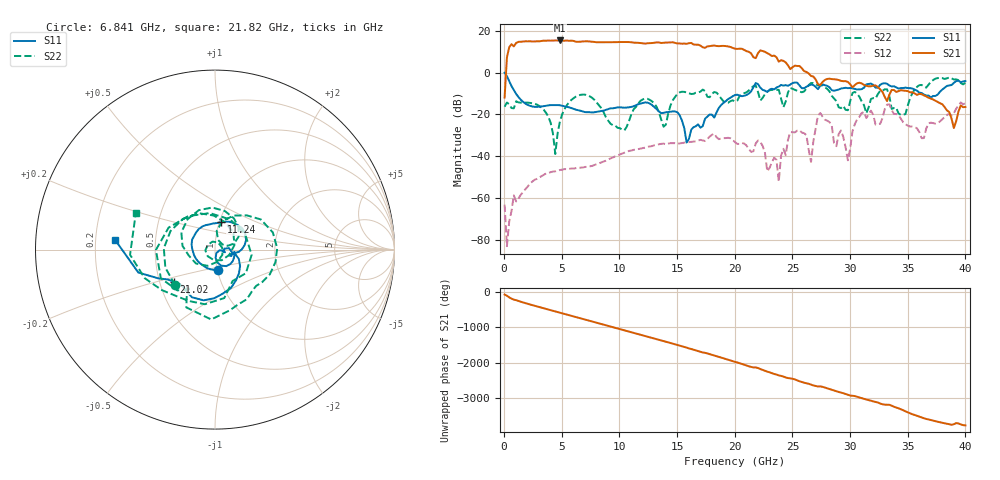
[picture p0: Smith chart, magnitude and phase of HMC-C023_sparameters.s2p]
!Hittite Microwave Corporation
!20 Alpha Road
!Chelmsford, MA 01824
!Tel: 978-250-3343
!Fax: 978-250-3373
!Device: HMC-C023, 2-20 GHz, Wideband PA Module
!Misc: Vdd = +12V, Idd = 310 mA, Room Temperature
# GHZ S DB R 50
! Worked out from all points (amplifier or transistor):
!   201 points, 50 MHz to 40 GHz, reference 50 ohm
!   highest |S21| = 15.3 dB at 4.844 GHz (marker M1)
!   |S21| within 3 dB of that: 479.4 MHz to 17.16 GHz (16.68 GHz wide, 189 % of centre) (the widest 1 of 2)
!   unconditionally stable (mu >= 1): start of sweep to end of sweep
!   at 6.642 GHz: K = 15.65, MAG = 15.2 dB, |S12| = -45.6 dB
!   at 20.02 GHz: K = 5.57, MAG = 11.9 dB, |S12| = -33.3 dB
!   at 40 GHz: K = 7.72, MAG = -12.8 dB, |S12| = -14.6 dB
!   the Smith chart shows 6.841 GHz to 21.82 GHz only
!   S11 on the Smith chart (normalised r, x): 6.841 GHz: 1.00, -0.23; 11.24 GHz: 1.02, +0.32; 21.02 GHz: 0.59, -0.23; 21.82 GHz: 0.28, +0.04
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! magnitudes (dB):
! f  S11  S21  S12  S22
! 50 MHz  -0.1  -12.0  -63.2  -16.4
! 249.8 MHz  -1.7  7.2  -83.1  -14.4
! 649.2 MHz  -6.5  13.6  -66.3  -17.0
! 3.446 GHz  -16.1  15.3  -49.0  -17.9
! 4.444 GHz  -15.6  15.3  -47.3  -39.0
! 4.844 GHz  -15.7  15.3  -46.7  -23.4
! 6.841 GHz  -18.7  14.9  -45.5  -10.5
! 11.24 GHz  -16.2  14.3  -37.0  -17.6
! 13.43 GHz  -18.7  14.4  -34.3  -19.1
! 15.83 GHz  -33.5  13.7  -33.5  -9.5
! 20.02 GHz  -10.8  11.4  -33.3  -14.0
! 21.02 GHz  -10.7  10.2  -35.0  -9.5
! 21.82 GHz  -5.0  6.9  -33.9  -6.3
! 23.82 GHz  -6.7  5.2  -52.2  -8.3
! 24.82 GHz  -5.8  1.6  -28.5  -7.4
! 26.82 GHz  -6.0  -1.9  -33.1  -5.0
! 27.42 GHz  -6.4  -6.0  -19.4  -6.0
! 29.81 GHz  -7.5  -4.5  -42.0  -18.1
! 31.01 GHz  -7.9  -5.2  -19.4  -13.8
! 33.41 GHz  -6.2  -10.6  -15.2  -11.3
! 36.2 GHz  -9.8  -10.4  -31.4  -5.9
! 40 GHz  -4.1  -16.5  -14.6  -4.9
